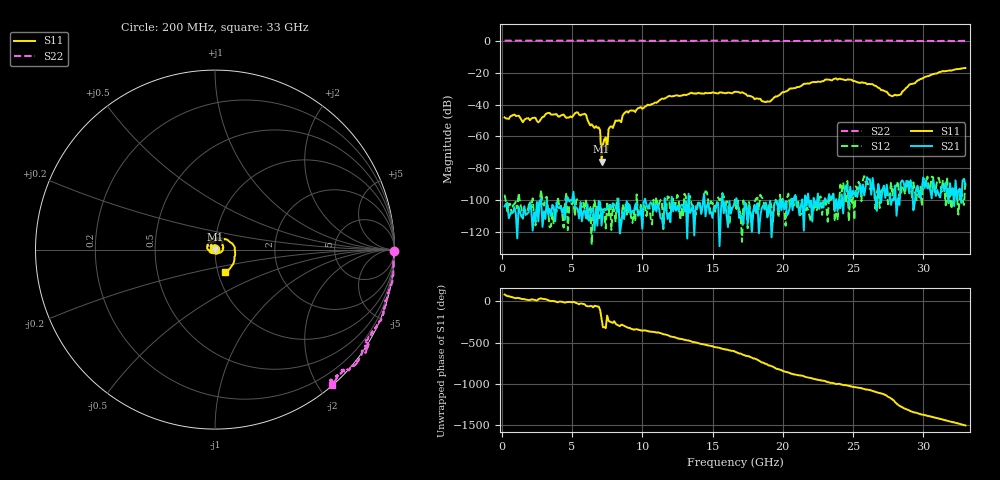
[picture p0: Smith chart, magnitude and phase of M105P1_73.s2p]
# GHZ S RI R 50
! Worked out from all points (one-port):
!   329 points, 200 MHz to 33 GHz, reference 50 ohm
!   lowest |S11| = -75.8 dB at 7.1 GHz (marker M1), VSWR 1.00, Z = 50 + j0.00904 ohm
!   |S11| at or under -10 dB: start of sweep to end of sweep
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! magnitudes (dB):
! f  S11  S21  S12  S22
! 200 MHz  -48.1  -103.9  -96.5  0.0
! 2.6 GHz  -51.2  -113.3  -106.2  0.0
! 3.3 GHz  -45.3  -108.9  -106.0  0.0
! 5.7 GHz  -46.2  -113.2  -104.4  0.0
! 7 GHz  -56.2  -101.2  -102.5  0.0
! 7.1 GHz  -75.8  -115.9  -105.9  0.0
! 7.2 GHz  -65.3  -107.1  -105.9  0.0
! 7.3 GHz  -61.8  -105.3  -108.7  0.0
! 7.4 GHz  -60.6  -106.4  -117.7  0.0
! 7.5 GHz  -68.9  -104.5  -100.8  0.0
! 7.6 GHz  -55.6  -103.6  -109.5  0.0
! 8.1 GHz  -50.0  -103.7  -113.8  0.0
! 11.2 GHz  -37.5  -105.3  -102.0  -0.1
! 16.6 GHz  -32.0  -101.8  -99.6  0.0
! 18.8 GHz  -38.5  -101.4  -104.1  -0.1
! 22.1 GHz  -26.0  -113.3  -106.3  -0.2
! 24.9 GHz  -24.5  -98.1  -102.6  0.0
! 27.6 GHz  -34.1  -97.1  -100.6  0.0
! 28.4 GHz  -33.8  -88.9  -97.5  0.0
! 29 GHz  -27.6  -95.6  -88.3  -0.2
! 30.6 GHz  -21.2  -98.8  -85.2  -0.2
! 33 GHz  -17.1  -90.3  -88.3  0.0
